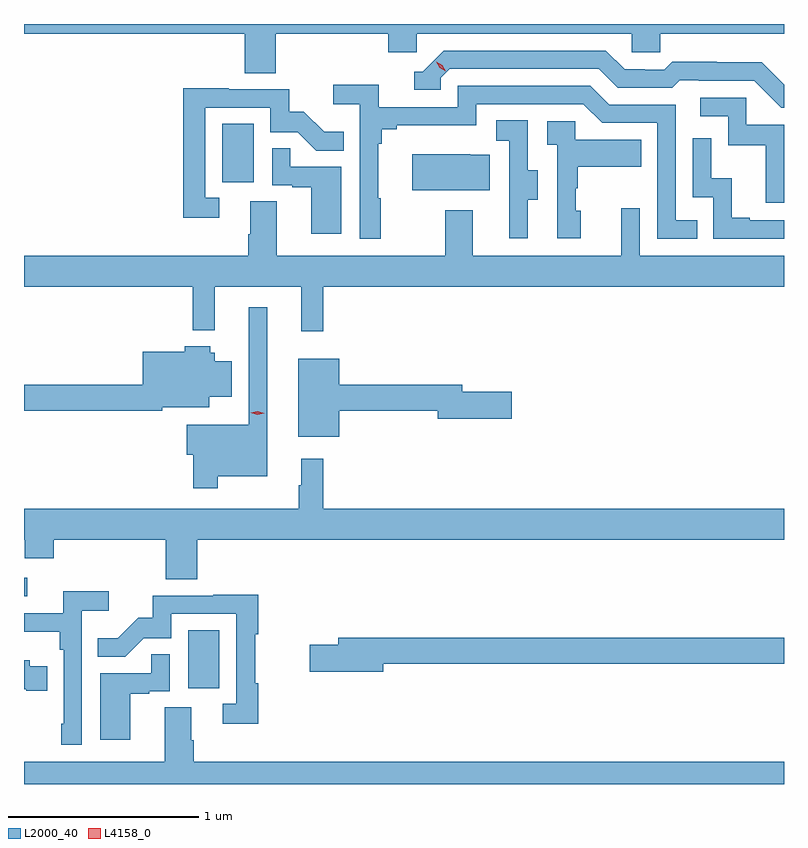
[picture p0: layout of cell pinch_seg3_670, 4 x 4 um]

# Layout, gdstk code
import gdstk
lib = gdstk.Library(unit=1e-6, precision=1e-09)
def R(c, l, rs):  # rectangles x0, y0, x1, y1
    for r in rs: c.add(gdstk.rectangle(r[:2], r[2:], *l))
def P(c, l, *ps):  # polygons
    for p in ps: c.add(gdstk.Polygon(p, *l))
L2000_40 = (2000, 40)
L4158_0 = (4158, 0)

pinch_seg3_670 = lib.new_cell('pinch_seg3_670')
R(pinch_seg3_670, L2000_40, [(1118.852,670.83,1119.016,671.137), (1117.988,671.316,1118.005,671.412), (1119.032,673.494,1119.196,673.801)])
P(pinch_seg3_670, L2000_40, [(1117.988,674.276),(1119.149,674.276),(1119.149,674.068),(1119.314,674.068),(1119.314,674.276),(1119.905,674.276),(1119.905,674.178),(1120.056,674.178),(1120.056,674.276),(1121.187,674.276),(1121.187,674.178),(1121.337,674.178),(1121.337,674.276),(1121.988,674.276),(1121.988,674.327),(1117.988,674.327)],
  [(1121.988,674.007),(1121.87,674.125),(1121.634,674.125),(1121.634,674.128),(1121.401,674.128),(1121.359,674.085),(1121.256,674.085),(1121.256,674.088),(1121.149,674.088),(1121.05,674.187),(1120.197,674.187),(1120.086,674.076),(1120.043,674.076),(1120.043,673.98),(1120.182,673.98),(1120.182,674.043),(1120.23,674.091),(1121.013,674.091),(1121.112,673.992),(1121.401,673.992),(1121.44,674.031),(1121.539,674.031),(1121.539,674.028),(1121.832,674.028),(1121.973,673.887),(1121.988,673.887)],
  [(1119.865,673.409),(1119.853,673.409),(1119.853,673.697),(1119.872,673.697),(1119.872,673.774),(1119.949,673.774),(1119.949,673.793),(1120.368,673.793),(1120.368,673.905),(1120.932,673.905),(1121.031,673.806),(1121.322,673.806),(1121.322,673.197),(1121.531,673.197),(1121.531,673.293),(1121.418,673.293),(1121.418,673.902),(1121.068,673.902),(1120.969,674.001),(1120.272,674.001),(1120.272,673.89),(1119.854,673.89),(1119.854,674.006),(1119.615,674.006),(1119.615,673.904),(1119.756,673.904),(1119.756,673.197),(1119.865,673.197)],
  [(1119.016,673.413),(1118.943,673.413),(1118.943,673.887),(1119.285,673.887),(1119.285,673.758),(1119.429,673.758),(1119.527,673.66),(1119.671,673.66),(1119.671,673.759),(1119.567,673.759),(1119.46,673.866),(1119.384,673.866),(1119.384,673.983),(1119.065,673.983),(1119.065,673.988),(1118.827,673.988),(1118.827,673.308),(1119.016,673.308)],
  [(1121.988,673.797),(1121.79,673.797),(1121.79,673.938),(1121.547,673.938),(1121.547,673.842),(1121.694,673.842),(1121.694,673.689),(1121.893,673.689),(1121.893,673.386),(1121.988,673.386)],
  [(1120.639,673.402),(1120.693,673.402),(1120.693,673.557),(1120.638,673.557),(1120.638,673.82),(1120.473,673.82),(1120.473,673.713),(1120.542,673.713),(1120.542,673.413),(1120.541,673.413),(1120.541,673.2),(1120.639,673.2)],
  [(1120.918,673.344),(1120.893,673.344),(1120.893,673.463),(1120.903,673.463),(1120.903,673.577),(1121.237,673.577),(1121.237,673.717),(1120.89,673.717),(1120.89,673.815),(1120.743,673.815),(1120.743,673.691),(1120.794,673.691),(1120.794,673.2),(1120.918,673.2)],
  [(1121.988,673.293),(1121.809,673.293),(1121.809,673.306),(1121.714,673.306),(1121.714,673.514),(1121.604,673.514),(1121.604,673.726),(1121.508,673.726),(1121.508,673.416),(1121.616,673.416),(1121.616,673.197),(1121.988,673.197)],
  [(1119.658,673.575),(1119.389,673.575),(1119.389,673.673),(1119.294,673.673),(1119.294,673.479),(1119.401,673.479),(1119.401,673.467),(1119.5,673.467),(1119.5,673.224),(1119.658,673.224)],
  [(1120.439,673.639),(1120.337,673.639),(1120.337,673.642),(1120.031,673.642),(1120.031,673.451),(1120.439,673.451)],
  [(1119.563,672.944),(1121.988,672.944),(1121.988,673.108),(1121.229,673.108),(1121.229,673.357),(1121.132,673.357),(1121.132,673.108),(1120.351,673.108),(1120.351,673.348),(1120.204,673.348),(1120.204,673.108),(1119.319,673.108),(1119.319,673.394),(1119.179,673.394),(1119.179,673.22),(1119.167,673.22),(1119.167,673.108),(1117.988,673.108),(1117.988,672.944),(1118.875,672.944),(1118.875,672.716),(1118.993,672.716),(1118.993,672.944),(1119.446,672.944),(1119.446,672.711),(1119.563,672.711)],
  [(1119.007,671.948),(1119.268,671.948),(1119.268,672.835),(1119.171,672.835),(1119.171,672.217),(1118.844,672.217),(1118.844,672.059),(1118.878,672.059),(1118.878,671.883),(1119.007,671.883)],
  [(1118.716,672.311),(1118.962,672.311),(1118.962,672.365),(1119.082,672.365),(1119.082,672.553),(1118.992,672.553),(1118.992,672.597),(1118.968,672.597),(1118.968,672.631),(1118.834,672.631),(1118.834,672.601),(1118.612,672.601),(1118.612,672.428),(1117.988,672.428),(1117.988,672.292),(1118.716,672.292)],
  [(1119.646,672.292),(1120.166,672.292),(1120.166,672.25),(1120.555,672.25),(1120.555,672.392),(1120.294,672.392),(1120.294,672.428),(1119.646,672.428),(1119.646,672.565),(1119.431,672.565),(1119.431,672.155),(1119.646,672.155)],
  [(1118.9,671.612),(1121.988,671.612),(1121.988,671.776),(1119.563,671.776),(1119.563,672.04),(1119.446,672.04),(1119.446,671.9),(1119.435,671.9),(1119.435,671.776),(1117.988,671.776),(1117.988,671.612),(1117.992,671.612),(1117.992,671.514),(1118.144,671.514),(1118.144,671.612),(1118.735,671.612),(1118.735,671.404),(1118.9,671.404)],
  [(1118.292,671.24),(1118.434,671.24),(1118.434,671.342),(1118.195,671.342),(1118.195,671.226),(1117.988,671.226),(1117.988,671.129),(1118.176,671.129),(1118.176,671.033),(1118.196,671.033),(1118.196,670.645),(1118.184,670.645),(1118.184,670.533),(1118.292,670.533)],
  [(1119.221,670.856),(1119.206,670.856),(1119.206,671.116),(1119.221,671.116),(1119.221,671.324),(1118.983,671.324),(1118.983,671.319),(1118.665,671.319),(1118.665,671.202),(1118.588,671.202),(1118.481,671.095),(1118.377,671.095),(1118.377,670.996),(1118.521,670.996),(1118.619,671.094),(1118.763,671.094),(1118.763,671.223),(1119.105,671.223),(1119.105,670.749),(1119.033,670.749),(1119.033,670.644),(1119.221,670.644)],
  [(1119.88,670.96),(1121.988,670.96),(1121.988,671.096),(1119.641,671.096),(1119.641,671.06),(1119.492,671.06),(1119.492,670.918),(1119.88,670.918)],
  [(1118.548,670.803),(1118.648,670.803),(1118.648,670.815),(1118.754,670.815),(1118.754,671.009),(1118.659,671.009),(1118.659,670.911),(1118.39,670.911),(1118.39,670.56),(1118.548,670.56)],
  [(1118.111,670.948),(1118.017,670.948),(1118.017,670.978),(1117.988,670.978),(1117.988,670.826),(1118,670.826),(1118,670.819),(1118.111,670.819)],
  [(1121.988,670.444),(1118.882,670.444),(1118.882,670.556),(1118.869,670.556),(1118.869,670.73),(1118.729,670.73),(1118.729,670.444),(1117.988,670.444),(1117.988,670.327),(1121.988,670.327)])
P(pinch_seg3_670, L4158_0, [(1119.216,672.27),(1119.182,672.281),(1119.181,672.282),(1119.182,672.282),(1119.217,672.29),(1119.252,672.278),(1119.252,672.278),(1119.252,672.278)],
  [(1120.207,674.078),(1120.176,674.097),(1120.159,674.129),(1120.159,674.129),(1120.159,674.129),(1120.19,674.11),(1120.207,674.078),(1120.207,674.078)])

lib.write_gds('pinch_seg3_670.gds')
